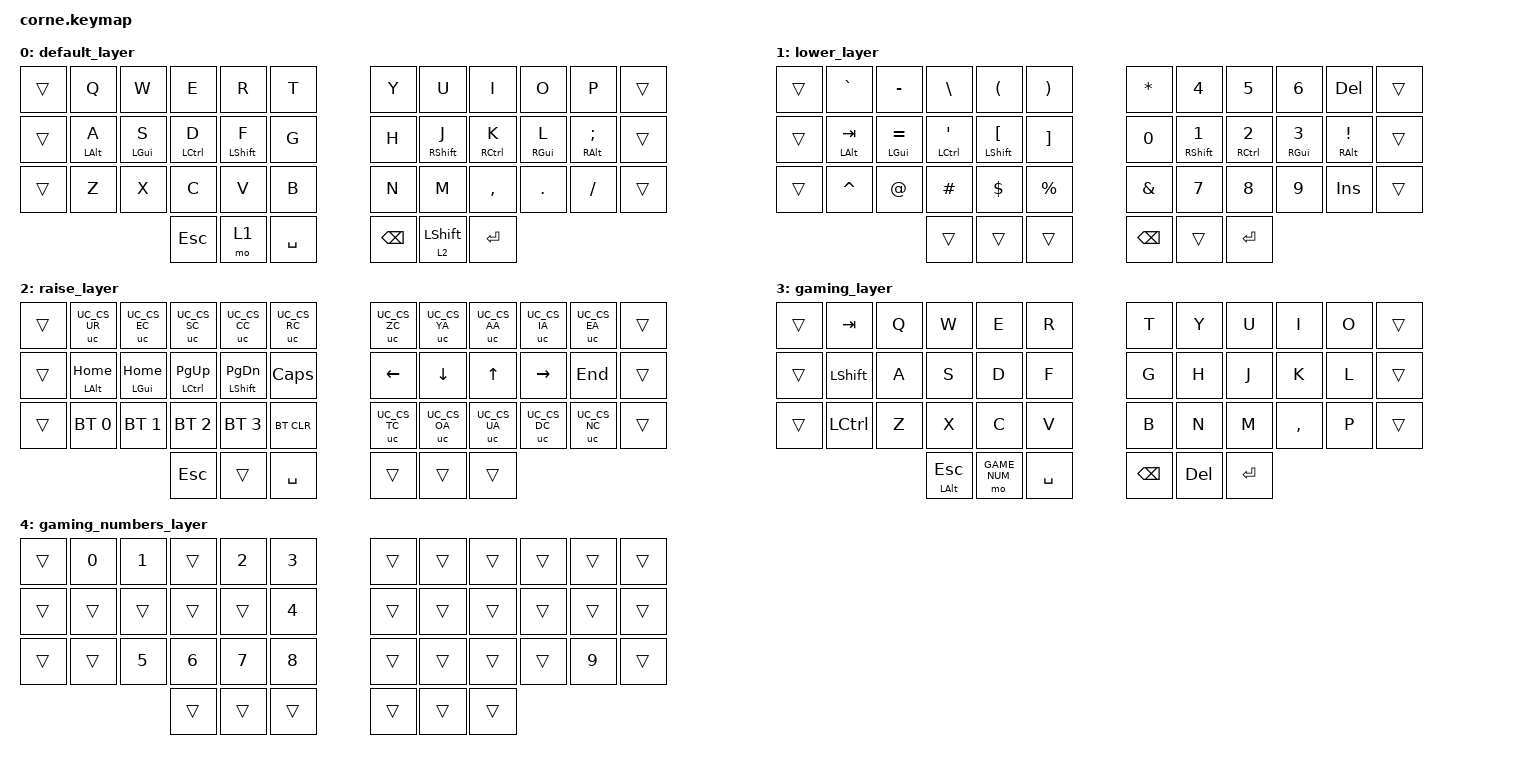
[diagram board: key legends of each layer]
#include <behaviors.dtsi>
#include <dt-bindings/zmk/keys.h>
#include <dt-bindings/zmk/bt.h>

#include <behaviors/unicode.dtsi>

#include "zmk-helpers/helper.h"
#include "zmk-helpers/key-labels/42.h"
#define KEYS_L LT0 LT1 LT2 LT3 LT4 LT5 LM0 LM1 LM2 LM3 LM4 LM5 LB0 LB1 LB2 LB3 LB4 LB5  // Left-hand keys.
#define KEYS_R RT0 RT1 RT2 RT3 RT4 RT5 RM0 RM1 RM2 RM3 RM4 RM5 RB0 RB1 RB2 RB3 RB4 RB5  // Right-hand keys.
#define THUMBS LH2 LH1 LH0 RH0 RH1 RH2                                                  // Thumb keys.

#define GAME 3
#define GAME_NUM 4

&sk {
    quick-release;
};

&uc {
  default-mode = <UC_MODE_LINUX_ALT>;
};

/ {
    behaviors {
        hml: home_row_mod_left {
            compatible = "zmk,behavior-hold-tap";
            #binding-cells = <2>;
            bindings = <&kp>, <&kp>;
            flavor = "balanced";
            require-prior-idle-ms = <150>;
            tapping-term-ms = <280>;
            quick-tap-ms = <175>;
            hold-trigger-key-positions = < KEYS_R THUMBS >;
            hold-trigger-on-release;
        };
        hmr: home_row_mod_right {
            compatible = "zmk,behavior-hold-tap";
            #binding-cells = <2>;
            bindings = <&kp>, <&kp>;
            flavor = "balanced";
            require-prior-idle-ms = <150>;
            tapping-term-ms = <280>;
            quick-tap-ms = <175>;
            hold-trigger-key-positions = < KEYS_L THUMBS >;
            hold-trigger-on-release;
        };
        lsm: layer_and_sticky_mod {
            compatible = "zmk,behavior-hold-tap";
            #binding-cells = <2>;
            bindings = <&mo>, <&sk>;
            flavor = "balanced";
            require-prior-idle-ms = <150>;
            tapping-term-ms = <280>;
        };
    };
};

/ {
    combos {
        compatible = "zmk,combos";

        gaming_toggle {
            timeout-ms = <50>;
            key-positions = <LH1 RH1>;
            bindings = <&tog GAME>;
        };
    };

    keymap {
        compatible = "zmk,keymap";

        default_layer {
            bindings = <
   &trans       &kp Q        &kp W        &kp E        &kp R        &kp T          &kp Y        &kp U            &kp I        &kp O        &kp P            &trans
   &trans       &hml LALT A  &hml LGUI S  &hml LCTRL D &hml LSHFT F &kp G          &kp H        &hmr RSHFT J     &hmr RCTRL K &hmr RGUI L  &hmr RALT SEMI   &trans
   &trans       &kp Z        &kp X        &kp C        &kp V        &kp B          &kp N        &kp M            &kp COMMA    &kp DOT      &kp FSLH         &trans
                                          &kp ESC      &mo 1        &kp SPACE      &kp BSPC     &lsm 2 LSHFT     &kp RET
            >;
        };

        lower_layer {
            bindings = <
   &trans       &kp GRAVE        &kp MINUS        &kp BSLH         &kp LPAR         &kp RPAR       &kp STAR     &kp N4           &kp N5           &kp N6       &kp DEL          &trans
   &trans       &hml LALT TAB    &hml LGUI EQUAL  &hml LCTRL SQT   &hml LSHFT LBKT  &kp RBKT       &kp N0       &hmr RSHFT N1    &hmr RCTRL N2    &hmr RGUI N3 &hmr RALT EXCL   &trans
   &trans       &kp CARET        &kp AT           &kp HASH         &kp DLLR         &kp PRCNT      &kp AMPS     &kp N7           &kp N8           &kp N9       &kp INS          &trans
                                                  &trans           &trans           &trans         &kp BSPC     &trans           &kp RET
            >;
        };

        raise_layer {
            bindings = <
   &trans       &uc UC_CS_UR     &uc UC_CS_EC     &uc UC_CS_SC     &uc UC_CS_CC     &uc UC_CS_RC   &uc UC_CS_ZC &uc UC_CS_YA &uc UC_CS_AA &uc UC_CS_IA &uc UC_CS_EA &trans
   &trans       &hml LALT HOME   &hml LGUI HOME   &hml LCTRL PG_UP &hml LSHFT PG_DN &kp CAPS       &kp LEFT     &kp DOWN     &kp UP       &kp RIGHT    &kp END      &trans
   &trans       &bt BT_SEL 0     &bt BT_SEL 1     &bt BT_SEL 2     &bt BT_SEL 3     &bt BT_CLR     &uc UC_CS_TC &uc UC_CS_OA &uc UC_CS_UA &uc UC_CS_DC &uc UC_CS_NC &trans
                                                  &kp ESC          &trans           &kp SPACE      &trans       &trans       &trans
            >;
        };

        gaming_layer {
            bindings = <
   &trans       &kp TAB      &kp Q        &kp W        &kp E        &kp R          &kp T        &kp Y        &kp U        &kp I        &kp O        &trans
   &trans       &kp LSHFT    &kp A        &kp S        &kp D        &kp F          &kp G        &kp H        &kp J        &kp K        &kp L        &trans
   &trans       &kp LCTRL    &kp Z        &kp X        &kp C        &kp V          &kp B        &kp N        &kp M        &kp COMMA    &kp P        &trans
                                          &mt LALT ESC &mo GAME_NUM &kp SPACE      &kp BSPC     &kp DEL      &kp RET
            >;
        };

        gaming_numbers_layer {
            bindings = <
   &trans       &kp N0       &kp N1       &trans       &kp N2       &kp N3         &trans       &trans       &trans       &trans       &trans       &trans
   &trans       &trans       &trans       &trans       &trans       &kp N4         &trans       &trans       &trans       &trans       &trans       &trans
   &trans       &trans       &kp N5       &kp N6       &kp N7       &kp N8         &trans       &trans       &trans       &trans       &kp N9       &trans
                                          &trans       &trans       &trans         &trans       &trans       &trans
            >;
        };
    };
};
